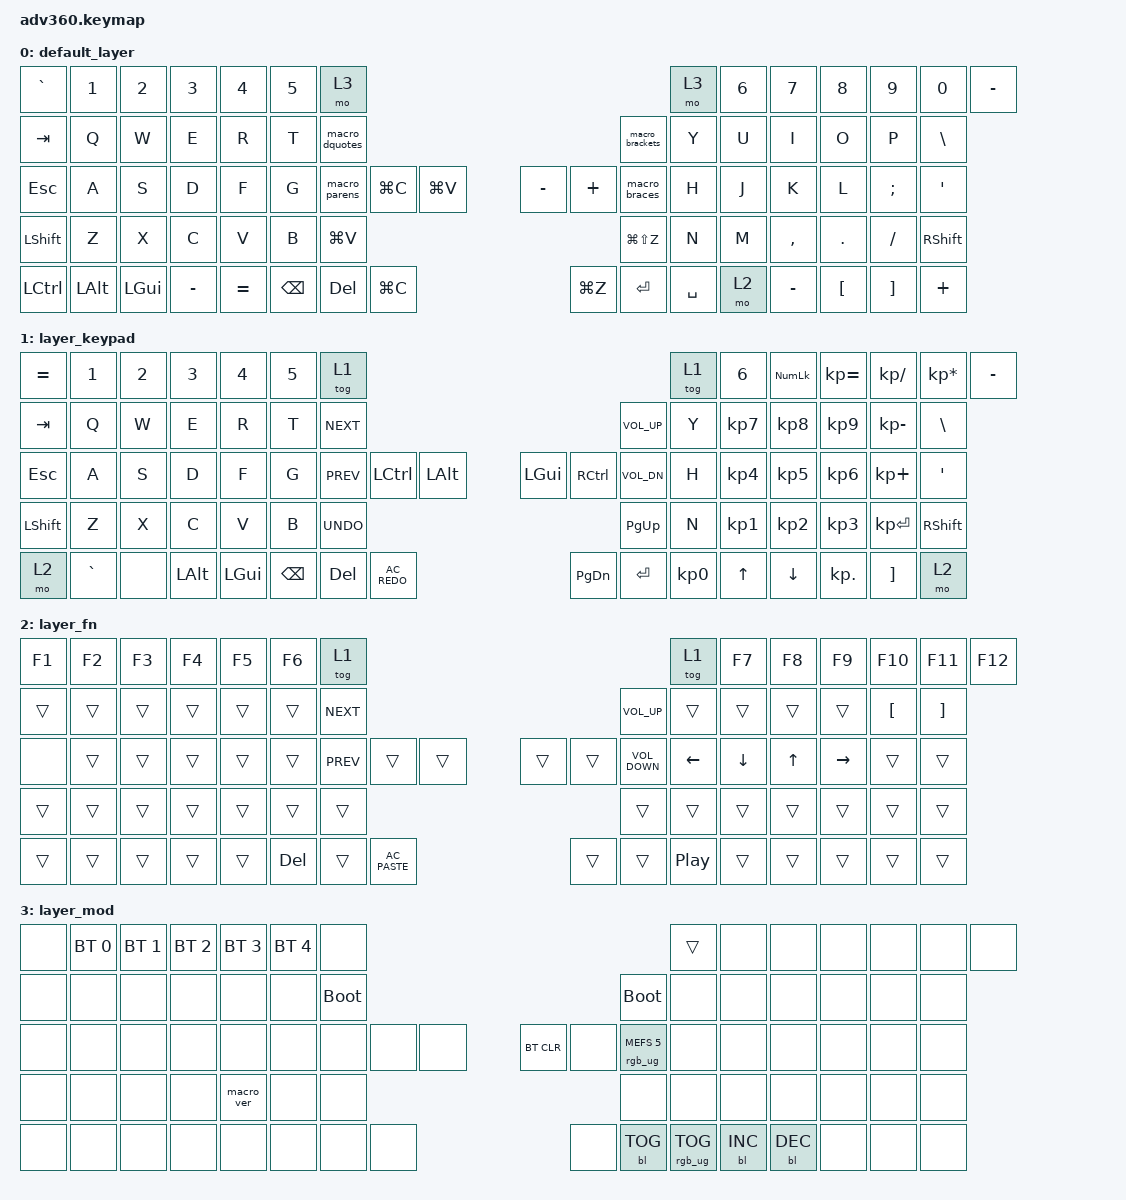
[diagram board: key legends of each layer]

/*
 * Copyright (c) 2020 The ZMK Contributors
 *
 * SPDX-License-Identifier: MIT
 */


/* THIS FILE WAS GENERATED!
 *
 * This file was generated automatically. You may or may not want to
 * edit it directly.
 */

#include <behaviors.dtsi>
#include <dt-bindings/zmk/keys.h>
#include <dt-bindings/zmk/bt.h>
#include <dt-bindings/zmk/rgb.h>
#include <dt-bindings/zmk/backlight.h>

/ {
  behaviors {
    #include "macros.dtsi"
    #include "version.dtsi"

    hm: homerow_mods {
        compatible = "zmk,behavior-hold-tap";
        label = "HOMEROW_MODS";
        #binding-cells = <2>;
        tapping-term-ms = <200>;
        quick_tap_ms = <175>;
        flavor = "tap-preferred";
        bindings = <&kp>, <&kp>;
    };
  };

    keymap {
        compatible = "zmk,keymap";


        default_layer {
            bindings = <
 &kp GRAVE    &kp N1    &kp N2     &kp N3     &kp N4  &kp N5                     &mo 3                                                                            &mo 3  &kp N6  &kp N7     &kp N8    &kp N9    &kp N0  &kp MINUS
   &kp TAB     &kp Q     &kp W      &kp E      &kp R   &kp T            &macro_dquotes                                                                  &macro_brackets   &kp Y   &kp U      &kp I     &kp O     &kp P   &kp BSLH
   &kp ESC     &kp A     &kp S      &kp D      &kp F   &kp G             &macro_parens  &kp LG(C)  &kp LG(V)                      &kp MINUS   &kp PLUS    &macro_braces   &kp H   &kp J      &kp K     &kp L  &kp SEMI    &kp SQT
 &kp LSHFT     &kp Z     &kp X      &kp C      &kp V   &kp B                                       &kp LG(V)                  &kp LG(LS(Z))                               &kp N   &kp M  &kp COMMA   &kp DOT  &kp FSLH  &kp RSHFT
 &kp LCTRL  &kp LALT  &kp LGUI  &kp MINUS  &kp EQUAL                          &kp BSPC    &kp DEL  &kp LG(C)                      &kp LG(Z)  &kp ENTER        &kp SPACE           &mo 2  &kp MINUS  &kp LBKT  &kp RBKT   &kp PLUS
            >;
        };

        layer_keypad {
            bindings = <
 &kp EQUAL     &kp N1  &kp N2    &kp N3    &kp N4  &kp N5                &tog 1                                                                        &tog 1  &kp N6  &kp KP_NUM  &kp KP_EQUAL  &kp KP_DIVIDE  &kp KP_MULTIPLY  &kp MINUS
   &kp TAB      &kp Q   &kp W     &kp E     &kp R   &kp T            &kp C_NEXT                                                                  &kp C_VOL_UP   &kp Y   &kp KP_N7     &kp KP_N8      &kp KP_N9     &kp KP_MINUS   &kp BSLH
   &kp ESC      &kp A   &kp S     &kp D     &kp F   &kp G            &kp C_PREV  &kp LCTRL       &kp LALT                   &kp LGUI  &kp RCTRL  &kp C_VOL_DN   &kp H   &kp KP_N4     &kp KP_N5      &kp KP_N6      &kp KP_PLUS    &kp SQT
 &kp LSHFT      &kp Z   &kp X     &kp C     &kp V   &kp B                                      &kp K_UNDO                  &kp PG_UP                            &kp N   &kp KP_N1     &kp KP_N2      &kp KP_N3     &kp KP_ENTER  &kp RSHFT
     &mo 2  &kp GRAVE   &none  &kp LALT  &kp LGUI                      &kp BSPC    &kp DEL  &kp C_AC_REDO                  &kp PG_DN  &kp ENTER     &kp KP_N0              &kp UP      &kp DOWN     &kp KP_DOT         &kp RBKT      &mo 2
            >;
        };

        layer_fn {
            bindings = <
 &kp F1  &kp F2  &kp F3  &kp F4  &kp F5  &kp F6                &tog 1                                                                     &tog 1    &kp F7    &kp F8  &kp F9    &kp F10   &kp F11   &kp F12
 &trans  &trans  &trans  &trans  &trans  &trans            &kp C_NEXT                                                               &kp C_VOL_UP    &trans    &trans  &trans     &trans  &kp LBKT  &kp RBKT
  &none  &trans  &trans  &trans  &trans  &trans            &kp C_PREV  &trans          &trans                  &trans  &trans  &kp C_VOLUME_DOWN  &kp LEFT  &kp DOWN  &kp UP  &kp RIGHT    &trans    &trans
 &trans  &trans  &trans  &trans  &trans  &trans                                        &trans                  &trans                               &trans    &trans  &trans     &trans    &trans    &trans
 &trans  &trans  &trans  &trans  &trans                    &kp DELETE  &trans  &kp C_AC_PASTE                  &trans  &trans   &kp C_PLAY_PAUSE              &trans  &trans     &trans    &trans    &trans
            >;
        };

        layer_mod {
            bindings = <
  &none  &bt BT_SEL 0  &bt BT_SEL 1  &bt BT_SEL 2  &bt BT_SEL 3  &bt BT_SEL 4                  &none                                                                          &trans   &none       &none       &none   &none   &none   &none
  &none         &none         &none         &none         &none         &none            &bootloader                                                                     &bootloader   &none       &none       &none   &none   &none   &none
  &none         &none         &none         &none         &none         &none                  &none   &none   &none                  &bt BT_CLR       &none  &rgb_ug RGB_MEFS_CMD 5   &none       &none       &none   &none   &none   &none
  &none         &none         &none         &none    &macro_ver         &none                                  &none                       &none                                       &none       &none       &none   &none   &none   &none
  &none         &none         &none         &none         &none                                &none   &none   &none                       &none  &bl BL_TOG         &rgb_ug RGB_TOG          &bl BL_INC  &bl BL_DEC   &none   &none   &none
            >;
        };

    };
};
